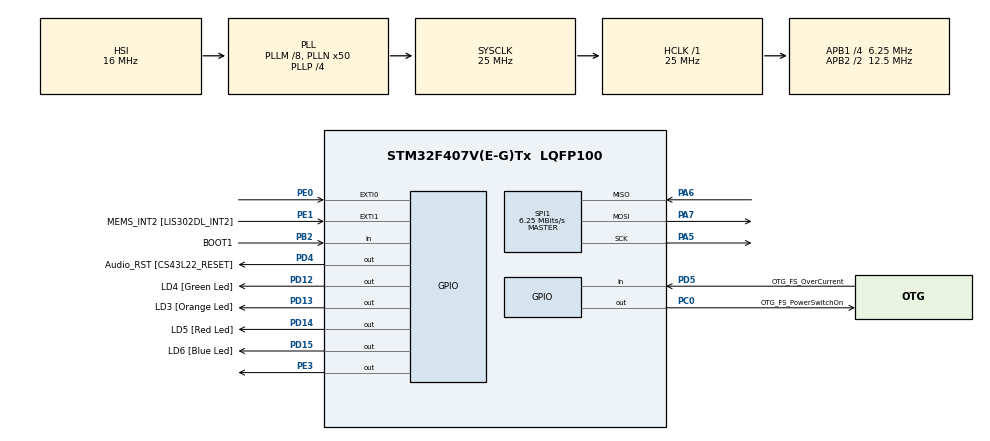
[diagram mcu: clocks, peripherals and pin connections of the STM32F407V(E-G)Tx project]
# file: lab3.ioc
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Mcu.Family=STM32F4
Mcu.Name=STM32F407V(E-G)Tx
Mcu.Package=LQFP100
NVIC.EXTI0_IRQn=true\:0\:0\:false\:false\:true\:true\:true\:true
NVIC.PriorityGroup=NVIC_PRIORITYGROUP_4
NVIC.TIM7_IRQn=true\:0\:0\:false\:false\:true\:false\:true\:true
NVIC.TimeBase=TIM7_IRQn
NVIC.TimeBaseIP=TIM7
PA10.GPIO_Label=OTG_FS_ID
PA10.GPIO_Mode=GPIO_MODE_AF_PP
PA10.GPIO_PuPd=GPIO_NOPULL
PA10.GPIO_Speed=GPIO_SPEED_FREQ_LOW
PA10.Signal=USB_OTG_FS_ID
PA11.GPIO_Label=OTG_FS_DM
PA11.GPIO_Mode=GPIO_MODE_AF_PP
PA11.GPIO_PuPd=GPIO_NOPULL
PA11.GPIO_Speed=GPIO_SPEED_FREQ_LOW
PA11.Signal=USB_OTG_FS_DM
PA12.GPIO_Label=OTG_FS_DP
PA12.GPIO_Mode=GPIO_MODE_AF_PP
PA12.GPIO_PuPd=GPIO_NOPULL
PA12.GPIO_Speed=GPIO_SPEED_FREQ_LOW
PA12.Signal=USB_OTG_FS_DP
PA13.GPIO_Label=SWDIO
PA13.Mode=Serial_Wire
PA13.Signal=SYS_JTMS-SWDIO
PA14.GPIO_Label=SWCLK
PA14.Mode=Serial_Wire
PA14.Signal=SYS_JTCK-SWCLK
PA4.GPIO_Label=I2S3_WS [CS43L22_LRCK]
PA4.GPIO_Mode=GPIO_MODE_AF_PP
PA4.GPIO_PuPd=GPIO_NOPULL
PA4.GPIO_Speed=GPIO_SPEED_FREQ_LOW
PA4.Signal=I2S3_WS
PA5.Mode=Full_Duplex_Master
PA5.Signal=SPI1_SCK
PA6.Mode=Full_Duplex_Master
PA6.Signal=SPI1_MISO
PA7.Mode=Full_Duplex_Master
PA7.Signal=SPI1_MOSI
PA9.GPIO_Label=VBUS_FS
PA9.GPIO_Mode=GPIO_MODE_INPUT
PA9.GPIO_PuPd=GPIO_NOPULL
PA9.Signal=USB_OTG_FS_VBUS
PB10.GPIO_Label=CLK_IN [MP45DT02_CLK]
PB10.GPIO_Mode=GPIO_MODE_AF_PP
PB10.GPIO_PuPd=GPIO_NOPULL
PB10.GPIO_Speed=GPIO_SPEED_FREQ_LOW
PB10.Signal=I2S2_CK
PB2.GPIO_Label=BOOT1
PB2.GPIO_Mode=GPIO_MODE_INPUT
PB2.GPIO_PuPd=GPIO_NOPULL
PB2.Signal=GPIO_Input
PB3.GPIO_Label=SWO
PB3.Signal=SYS_JTDO-SWO
PB6.GPIO_Label=Audio_SCL [CS43L22_SCL]
PB6.GPIO_Mode=GPIO_MODE_AF_OD
PB6.GPIO_PuPd=GPIO_NOPULL
PB6.GPIO_Speed=GPIO_SPEED_FREQ_LOW
PB6.Signal=I2C1_SCL
PB9.GPIO_Label=Audio_SDA [CS43L22_SDA]
PB9.GPIO_Mode=GPIO_MODE_AF_OD
PB9.GPIO_PuPd=GPIO_NOPULL
PB9.GPIO_Speed=GPIO_SPEED_FREQ_LOW
PB9.Signal=I2C1_SDA
PC0.GPIO_Label=OTG_FS_PowerSwitchOn
PC0.GPIO_PuPd=GPIO_NOPULL
PC0.GPIO_Speed=GPIO_SPEED_FREQ_LOW
PC0.PinState=GPIO_PIN_SET
PC0.Signal=GPIO_Output
PC10.GPIO_Label=I2S3_SCK [CS43L22_SCLK]
PC10.GPIO_Mode=GPIO_MODE_AF_PP
PC10.GPIO_PuPd=GPIO_NOPULL
PC10.GPIO_Speed=GPIO_SPEED_FREQ_LOW
PC10.Signal=I2S3_CK
PC12.GPIO_Label=I2S3_SD [CS43L22_SDIN]
PC12.GPIO_Mode=GPIO_MODE_AF_PP
PC12.GPIO_PuPd=GPIO_NOPULL
PC12.GPIO_Speed=GPIO_SPEED_FREQ_LOW
PC12.Signal=I2S3_SD
PC14-OSC32_IN.GPIO_Label=PC14-OSC32_IN
PC14-OSC32_IN.Signal=RCC_OSC32_IN
PC15-OSC32_OUT.GPIO_Label=PC15-OSC32_OUT
PC15-OSC32_OUT.Signal=RCC_OSC32_OUT
PC3.GPIO_Label=PDM_OUT [MP45DT02_DOUT]
PC3.GPIO_Mode=GPIO_MODE_AF_PP
PC3.GPIO_PuPd=GPIO_NOPULL
PC3.GPIO_Speed=GPIO_SPEED_FREQ_LOW
PC3.Signal=I2S2_SD
PC7.GPIO_Label=I2S3_MCK [CS43L22_MCLK]
PC7.GPIO_Mode=GPIO_MODE_AF_PP
PC7.GPIO_PuPd=GPIO_NOPULL
PC7.GPIO_Speed=GPIO_SPEED_FREQ_LOW
PC7.Signal=I2S3_MCK
PD12.GPIO_Label=LD4 [Green Led]
PD12.GPIO_PuPd=GPIO_NOPULL
PD12.GPIO_Speed=GPIO_SPEED_FREQ_LOW
PD12.Signal=GPIO_Output
PD13.GPIO_Label=LD3 [Orange Led]
PD13.GPIO_PuPd=GPIO_NOPULL
PD13.GPIO_Speed=GPIO_SPEED_FREQ_LOW
PD13.Signal=GPIO_Output
PD14.GPIO_Label=LD5 [Red Led]
PD14.GPIO_PuPd=GPIO_NOPULL
PD14.GPIO_Speed=GPIO_SPEED_FREQ_LOW
PD14.Signal=GPIO_Output
PD15.GPIO_Label=LD6 [Blue Led]
PD15.GPIO_PuPd=GPIO_NOPULL
PD15.GPIO_Speed=GPIO_SPEED_FREQ_LOW
PD15.Signal=GPIO_Output
PD4.GPIO_Label=Audio_RST [CS43L22_RESET]
PD4.GPIO_PuPd=GPIO_NOPULL
PD4.GPIO_Speed=GPIO_SPEED_FREQ_LOW
PD4.Signal=GPIO_Output
PD5.GPIO_Label=OTG_FS_OverCurrent
PD5.GPIO_Mode=GPIO_MODE_INPUT
PD5.GPIO_PuPd=GPIO_NOPULL
PD5.Signal=GPIO_Input
PE0.Signal=GPXTI0
PE1.GPIO_Label=MEMS_INT2 [LIS302DL_INT2]
PE1.GPIO_ModeDefaultEXTI=GPIO_MODE_EVT_RISING
PE1.GPIO_PuPd=GPIO_NOPULL
PE1.Signal=GPXTI1
PE3.Signal=GPIO_Output
PH0-OSC_IN.GPIO_Label=PH0-OSC_IN
PH0-OSC_IN.Signal=RCC_OSC_IN
PH1-OSC_OUT.GPIO_Label=PH1-OSC_OUT
PH1-OSC_OUT.Signal=RCC_OSC_OUT
ProjectManager.HeapSize=0x200
ProjectManager.StackSize=0x400
ProjectManager.TargetToolchain=STM32CubeIDE
RCC.48MHZClocksFreq_Value=14285714.285714285
RCC.AHBFreq_Value=25000000
RCC.APB1CLKDivider=RCC_HCLK_DIV4
RCC.APB1Freq_Value=6250000
RCC.APB1TimFreq_Value=12500000
RCC.APB2CLKDivider=RCC_HCLK_DIV2
RCC.APB2Freq_Value=12500000
RCC.APB2TimFreq_Value=25000000
RCC.CortexFreq_Value=25000000
RCC.HCLKFreq_Value=25000000
RCC.HSE_VALUE=8000000
RCC.HSI_VALUE=16000000
RCC.LSE_VALUE=32768
RCC.PLLM=8
RCC.PLLN=50
RCC.PLLP=RCC_PLLP_DIV4
RCC.PLLQ=7
RCC.SYSCLKFreq_VALUE=25000000
RCC.SYSCLKSource=RCC_SYSCLKSOURCE_PLLCLK
RCC.VCOOutputFreq_Value=100000000
SPI1.CalculateBaudRate=6.25 MBits/s
SPI1.Direction=SPI_DIRECTION_2LINES
SPI1.Mode=SPI_MODE_MASTER
SPI1.VirtualType=VM_MASTER
VP_SYS_VS_tim7.Mode=TIM7
board=STM32F407G-DISC1

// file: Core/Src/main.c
/* USER CODE BEGIN Header */
/**
  ******************************************************************************
  * @file           : main.c
  * @brief          : Main program body
  ******************************************************************************
  * @attention
  *
  * Copyright (c) 2023 STMicroelectronics.
  * All rights reserved.
  *
  * This software is licensed under terms that can be found in the LICENSE file
  * in the root directory of this software component.
  * If no LICENSE file comes with this software, it is provided AS-IS.
  *
  ******************************************************************************
  */
/* USER CODE END Header */
#include "main.h"
#include "FreeRTOS.h"
#include "task.h"
#include "semphr.h"

/* USER CODE BEGIN PM */
#define LIS3DSH_WHO_AM_I_ADDR		0x0F
#define LIS3DSH_STAT_ADDR			0x18
#define LIS3DSH_CTRL_REG4_ADDR		0x20
#define LIS3DSH_CTRL_REG1_ADDR		0x21
#define LIS3DSH_CTRL_REG2_ADDR		0x22
#define LIS3DSH_CTRL_REG3_ADDR		0x23
#define LIS3DSH_CTRL_REG5_ADDR		0x24
#define LIS3DSH_CTRL_REG6_ADDR		0x25

#define LIS3DSH_STATUS_ADDR			0x27

#define LIS3DSH_OUT_X_L_ADDR		0x28
#define LIS3DSH_OUT_X_H_ADDR		0x29
#define LIS3DSH_OUT_Y_L_ADDR		0x2A
#define LIS3DSH_OUT_Y_H_ADDR		0x2B
#define LIS3DSH_OUT_Z_L_ADDR		0x2C
#define LIS3DSH_OUT_Z_H_ADDR		0x2D

#define LIS3DSH_ST1_1_ADDR			0x40
#define LIS3DSH_ST1_2_ADDR			0x41
#define LIS3DSH_THRS1_1_ADDR		0x57
#define LIS3DSH_MASK1_B_ADDR		0x59
#define LIS3DSH_MASK1_A_ADDR		0x5A
#define LIS3DSH_SETT1_ADDR			0x5B

/* USER CODE END PM */

SPI_HandleTypeDef hspi1;

void SystemClock_Config(void);
static void MX_GPIO_Init(void);
static void MX_SPI1_Init(void);

/* USER CODE BEGIN 0 */
void MEMS_Write(uint8_t address, uint8_t data){
	HAL_GPIO_WritePin(GPIOE, GPIO_PIN_3, GPIO_PIN_RESET);
	HAL_SPI_Transmit(&hspi1, &address, 1, 10);
	HAL_SPI_Transmit(&hspi1, &data, 1, 10);
	HAL_GPIO_WritePin(GPIOE, GPIO_PIN_3, GPIO_PIN_SET);
}

void MEMS_Read(uint8_t address, uint8_t *data){
	address |= 0x80;
	HAL_GPIO_WritePin(GPIOE, GPIO_PIN_3, GPIO_PIN_RESET);
	HAL_SPI_Transmit(&hspi1, &address, 1, 10);
	HAL_SPI_Receive(&hspi1, data, 1, 10);
	HAL_GPIO_WritePin(GPIOE, GPIO_PIN_3, GPIO_PIN_SET);
}
/* prelab3
void LED_Task(void *pvParameter){
	for(;;){
		uint8_t data;
		MEMS_Read(LIS3DSH_WHO_AM_I_ADDR, &data);
		if(data == 0x3F){
			HAL_GPIO_TogglePin(GPIOD, GPIO_PIN_12);
		}
		vTaskDelay(500/portTICK_RATE_MS); //
	}
}
*/

void SensorInit(){
	MEMS_Write(LIS3DSH_CTRL_REG1_ADDR, 0x01);
	MEMS_Write(LIS3DSH_CTRL_REG3_ADDR, 0x48);
	MEMS_Write(LIS3DSH_CTRL_REG4_ADDR, 0x67);
	MEMS_Write(LIS3DSH_CTRL_REG5_ADDR, 0x00);
	MEMS_Write(LIS3DSH_THRS1_1_ADDR, 0x55);
	MEMS_Write(LIS3DSH_ST1_1_ADDR, 0x05);
	MEMS_Write(LIS3DSH_ST1_2_ADDR, 0x11);
	MEMS_Write(LIS3DSH_MASK1_B_ADDR, 0xFC);
	MEMS_Write(LIS3DSH_MASK1_A_ADDR, 0xFC);
	MEMS_Write(LIS3DSH_SETT1_ADDR, 0x1); // 01 ?
}

void Green_LED_Task(void *pvParameters)
{
	for(;;)
	{
		// green LED blink
		HAL_GPIO_WritePin(GPIOD, GPIO_PIN_12, GPIO_PIN_SET);
		vTaskDelay(500);
		HAL_GPIO_WritePin(GPIOD, GPIO_PIN_12, GPIO_PIN_RESET);
		vTaskDelay(500);
	}
}

SemaphoreHandle_t xSemaphore;

void vHandlerTask( void *pvParameters ) // taskB
{
	for(;;)
		{
			if (xSemaphoreTake(xSemaphore, 0xffff) == pdTRUE){ /* Take the semaphore */
				// semaphore was obtained

				//HAL_GPIO_WritePin(GPIOD, GPIO_PIN_14, GPIO_PIN_SET);
				// orange LED blink 5 times

				for(int i = 0; i < 10; i++){
					uint32_t From_begin_time = HAL_GetTick();
					HAL_GPIO_TogglePin(GPIOD, GPIO_PIN_13);
					while(HAL_GetTick() - From_begin_time < 250/portTICK_RATE_MS){;}
				}

				// reset interrupt register
				//MEMS_Write(LIS3DSH_THRS1_1_ADDR, 0x55);
				SensorInit();
			}
		}
}

void HAL_GPIO_EXTI_Callback(uint16_t GPIO_Pin) // switch state (ISR)
{
	/* red light toggle */
	HAL_GPIO_TogglePin(GPIOD, GPIO_PIN_14);
	/* Give the semaphore to unblock the handler task */
	BaseType_t xHigherPriorityTaskWoken;
	xHigherPriorityTaskWoken = pdFALSE;
	xSemaphoreGiveFromISR(xSemaphore, &xHigherPriorityTaskWoken);
	portYIELD_FROM_ISR( xHigherPriorityTaskWoken);
}

/* USER CODE END 0 */

int main(void)
{
  /* USER CODE BEGIN 1 */

  xSemaphore = xSemaphoreCreateBinary();
  /* USER CODE END 1 */

  /* MCU Configuration----------------------------------------  ----------------*/

  /* Reset of all peripherals, Initializes the Flash interface and the Systick. */
  HAL_Init();

  /* Configure the system clock */
  SystemClock_Config();

  /* Initialize all configured peripherals */
  MX_GPIO_Init();
  MX_SPI1_Init();

  SensorInit();

  /* USER CODE BEGIN 2 */
  xTaskCreate(
		  Green_LED_Task,
  		  "NAME",
  		  128,
  		  NULL,
  		  1,
  		  NULL);

  xTaskCreate(
		 vHandlerTask,
		 "NAME",
		 128,
		 NULL,
		 3,
    	 NULL);

  vTaskStartScheduler();
  /* USER CODE END 2 */

  /* Infinite loop */
  while (1)
  {

  }
}

void SystemClock_Config(void)
{
  RCC_OscInitTypeDef RCC_OscInitStruct = {0};
  RCC_ClkInitTypeDef RCC_ClkInitStruct = {0};

  /** Configure the main internal regulator output voltage
  */
  __HAL_RCC_PWR_CLK_ENABLE();
  __HAL_PWR_VOLTAGESCALING_CONFIG(PWR_REGULATOR_VOLTAGE_SCALE1);
  /** Initializes the RCC Oscillators according to the specified parameters
  * in the RCC_OscInitTypeDef structure.
  */
  RCC_OscInitStruct.OscillatorType = RCC_OSCILLATORTYPE_HSI;
  RCC_OscInitStruct.HSIState = RCC_HSI_ON;
  RCC_OscInitStruct.HSICalibrationValue = RCC_HSICALIBRATION_DEFAULT;
  RCC_OscInitStruct.PLL.PLLState = RCC_PLL_ON;
  RCC_OscInitStruct.PLL.PLLSource = RCC_PLLSOURCE_HSI;
  RCC_OscInitStruct.PLL.PLLM = 8;
  RCC_OscInitStruct.PLL.PLLN = 50;
  RCC_OscInitStruct.PLL.PLLP = RCC_PLLP_DIV4;
  RCC_OscInitStruct.PLL.PLLQ = 7;
  if (HAL_RCC_OscConfig(&RCC_OscInitStruct) != HAL_OK)
  {
    Error_Handler();
  }
  /** Initializes the CPU, AHB and APB buses clocks
  */
  RCC_ClkInitStruct.ClockType = RCC_CLOCKTYPE_HCLK|RCC_CLOCKTYPE_SYSCLK
                              |RCC_CLOCKTYPE_PCLK1|RCC_CLOCKTYPE_PCLK2;
  RCC_ClkInitStruct.SYSCLKSource = RCC_SYSCLKSOURCE_PLLCLK;
  RCC_ClkInitStruct.AHBCLKDivider = RCC_SYSCLK_DIV1;
  RCC_ClkInitStruct.APB1CLKDivider = RCC_HCLK_DIV4;
  RCC_ClkInitStruct.APB2CLKDivider = RCC_HCLK_DIV2;

  if (HAL_RCC_ClockConfig(&RCC_ClkInitStruct, FLASH_LATENCY_0) != HAL_OK)
  {
    Error_Handler();
  }
}

static void MX_SPI1_Init(void)
{

  /* SPI1 parameter configuration*/
  hspi1.Instance = SPI1;
  hspi1.Init.Mode = SPI_MODE_MASTER;
  hspi1.Init.Direction = SPI_DIRECTION_2LINES;
  hspi1.Init.DataSize = SPI_DATASIZE_8BIT;
  hspi1.Init.CLKPolarity = SPI_POLARITY_LOW;
  hspi1.Init.CLKPhase = SPI_PHASE_1EDGE;
  hspi1.Init.NSS = SPI_NSS_SOFT;
  hspi1.Init.BaudRatePrescaler = SPI_BAUDRATEPRESCALER_2;
  hspi1.Init.FirstBit = SPI_FIRSTBIT_MSB;
  hspi1.Init.TIMode = SPI_TIMODE_DISABLE;
  hspi1.Init.CRCCalculation = SPI_CRCCALCULATION_DISABLE;
  hspi1.Init.CRCPolynomial = 10;
  if (HAL_SPI_Init(&hspi1) != HAL_OK)
  {
    Error_Handler();
  }

}

static void MX_GPIO_Init(void)
{
  GPIO_InitTypeDef GPIO_InitStruct = {0};

  /* GPIO Ports Clock Enable */
  __HAL_RCC_GPIOE_CLK_ENABLE();
  __HAL_RCC_GPIOC_CLK_ENABLE();
  __HAL_RCC_GPIOH_CLK_ENABLE();
  __HAL_RCC_GPIOA_CLK_ENABLE();
  __HAL_RCC_GPIOB_CLK_ENABLE();
  __HAL_RCC_GPIOD_CLK_ENABLE();

  /*Configure GPIO pin Output Level */
  HAL_GPIO_WritePin(GPIOE, GPIO_PIN_3, GPIO_PIN_RESET);

  /*Configure GPIO pin Output Level */
  HAL_GPIO_WritePin(OTG_FS_PowerSwitchOn_GPIO_Port, OTG_FS_PowerSwitchOn_Pin, GPIO_PIN_SET);

  /*Configure GPIO pin Output Level */
  HAL_GPIO_WritePin(GPIOD, LD4_Pin|LD3_Pin|LD5_Pin|LD6_Pin
                          |Audio_RST_Pin, GPIO_PIN_RESET);

  /*Configure GPIO pin : PE3 */
  GPIO_InitStruct.Pin = GPIO_PIN_3;
  GPIO_InitStruct.Mode = GPIO_MODE_OUTPUT_PP;
  GPIO_InitStruct.Pull = GPIO_NOPULL;
  GPIO_InitStruct.Speed = GPIO_SPEED_FREQ_LOW;
  HAL_GPIO_Init(GPIOE, &GPIO_InitStruct);

  /*Configure GPIO pin : OTG_FS_PowerSwitchOn_Pin */
  GPIO_InitStruct.Pin = OTG_FS_PowerSwitchOn_Pin;
  GPIO_InitStruct.Mode = GPIO_MODE_OUTPUT_PP;
  GPIO_InitStruct.Pull = GPIO_NOPULL;
  GPIO_InitStruct.Speed = GPIO_SPEED_FREQ_LOW;
  HAL_GPIO_Init(OTG_FS_PowerSwitchOn_GPIO_Port, &GPIO_InitStruct);

  /*Configure GPIO pin : PDM_OUT_Pin */
  GPIO_InitStruct.Pin = PDM_OUT_Pin;
  GPIO_InitStruct.Mode = GPIO_MODE_AF_PP;
  GPIO_InitStruct.Pull = GPIO_NOPULL;
  GPIO_InitStruct.Speed = GPIO_SPEED_FREQ_LOW;
  GPIO_InitStruct.Alternate = GPIO_AF5_SPI2;
  HAL_GPIO_Init(PDM_OUT_GPIO_Port, &GPIO_InitStruct);

  /*Configure GPIO pin : I2S3_WS_Pin */
  GPIO_InitStruct.Pin = I2S3_WS_Pin;
  GPIO_InitStruct.Mode = GPIO_MODE_AF_PP;
  GPIO_InitStruct.Pull = GPIO_NOPULL;
  GPIO_InitStruct.Speed = GPIO_SPEED_FREQ_LOW;
  GPIO_InitStruct.Alternate = GPIO_AF6_SPI3;
  HAL_GPIO_Init(I2S3_WS_GPIO_Port, &GPIO_InitStruct);

  /*Configure GPIO pin : BOOT1_Pin */
  GPIO_InitStruct.Pin = BOOT1_Pin;
  GPIO_InitStruct.Mode = GPIO_MODE_INPUT;
  GPIO_InitStruct.Pull = GPIO_NOPULL;
  HAL_GPIO_Init(BOOT1_GPIO_Port, &GPIO_InitStruct);

  /*Configure GPIO pin : CLK_IN_Pin */
  GPIO_InitStruct.Pin = CLK_IN_Pin;
  GPIO_InitStruct.Mode = GPIO_MODE_AF_PP;
  GPIO_InitStruct.Pull = GPIO_NOPULL;
  GPIO_InitStruct.Speed = GPIO_SPEED_FREQ_LOW;
  GPIO_InitStruct.Alternate = GPIO_AF5_SPI2;
  HAL_GPIO_Init(CLK_IN_GPIO_Port, &GPIO_InitStruct);

  /*Configure GPIO pins : LD4_Pin LD3_Pin LD5_Pin LD6_Pin
                           Audio_RST_Pin */
  GPIO_InitStruct.Pin = LD4_Pin|LD3_Pin|LD5_Pin|LD6_Pin
                          |Audio_RST_Pin;
  GPIO_InitStruct.Mode = GPIO_MODE_OUTPUT_PP;
  GPIO_InitStruct.Pull = GPIO_NOPULL;
  GPIO_InitStruct.Speed = GPIO_SPEED_FREQ_LOW;
  HAL_GPIO_Init(GPIOD, &GPIO_InitStruct);

  /*Configure GPIO pins : I2S3_MCK_Pin I2S3_SCK_Pin I2S3_SD_Pin */
  GPIO_InitStruct.Pin = I2S3_MCK_Pin|I2S3_SCK_Pin|I2S3_SD_Pin;
  GPIO_InitStruct.Mode = GPIO_MODE_AF_PP;
  GPIO_InitStruct.Pull = GPIO_NOPULL;
  GPIO_InitStruct.Speed = GPIO_SPEED_FREQ_LOW;
  GPIO_InitStruct.Alternate = GPIO_AF6_SPI3;
  HAL_GPIO_Init(GPIOC, &GPIO_InitStruct);

  /*Configure GPIO pin : VBUS_FS_Pin */
  GPIO_InitStruct.Pin = VBUS_FS_Pin;
  GPIO_InitStruct.Mode = GPIO_MODE_INPUT;
  GPIO_InitStruct.Pull = GPIO_NOPULL;
  HAL_GPIO_Init(VBUS_FS_GPIO_Port, &GPIO_InitStruct);

  /*Configure GPIO pins : OTG_FS_ID_Pin OTG_FS_DM_Pin OTG_FS_DP_Pin */
  GPIO_InitStruct.Pin = OTG_FS_ID_Pin|OTG_FS_DM_Pin|OTG_FS_DP_Pin;
  GPIO_InitStruct.Mode = GPIO_MODE_AF_PP;
  GPIO_InitStruct.Pull = GPIO_NOPULL;
  GPIO_InitStruct.Speed = GPIO_SPEED_FREQ_LOW;
  GPIO_InitStruct.Alternate = GPIO_AF10_OTG_FS;
  HAL_GPIO_Init(GPIOA, &GPIO_InitStruct);

  /*Configure GPIO pin : OTG_FS_OverCurrent_Pin */
  GPIO_InitStruct.Pin = OTG_FS_OverCurrent_Pin;
  GPIO_InitStruct.Mode = GPIO_MODE_INPUT;
  GPIO_InitStruct.Pull = GPIO_NOPULL;
  HAL_GPIO_Init(OTG_FS_OverCurrent_GPIO_Port, &GPIO_InitStruct);

  /*Configure GPIO pins : Audio_SCL_Pin Audio_SDA_Pin */
  GPIO_InitStruct.Pin = Audio_SCL_Pin|Audio_SDA_Pin;
  GPIO_InitStruct.Mode = GPIO_MODE_AF_OD;
  GPIO_InitStruct.Pull = GPIO_NOPULL;
  GPIO_InitStruct.Speed = GPIO_SPEED_FREQ_LOW;
  GPIO_InitStruct.Alternate = GPIO_AF4_I2C1;
  HAL_GPIO_Init(GPIOB, &GPIO_InitStruct);

  /*Configure GPIO pin : PE0 */
  GPIO_InitStruct.Pin = GPIO_PIN_0;
  GPIO_InitStruct.Mode = GPIO_MODE_IT_RISING;
  GPIO_InitStruct.Pull = GPIO_NOPULL;
  HAL_GPIO_Init(GPIOE, &GPIO_InitStruct);

  /*Configure GPIO pin : MEMS_INT2_Pin */
  GPIO_InitStruct.Pin = MEMS_INT2_Pin;
  GPIO_InitStruct.Mode = GPIO_MODE_EVT_RISING;
  GPIO_InitStruct.Pull = GPIO_NOPULL;
  HAL_GPIO_Init(MEMS_INT2_GPIO_Port, &GPIO_InitStruct);

  /* EXTI interrupt init*/
  HAL_NVIC_SetPriority(EXTI0_IRQn, 5, 0);
  HAL_NVIC_EnableIRQ(EXTI0_IRQn);

}

void HAL_TIM_PeriodElapsedCallback(TIM_HandleTypeDef *htim)
{
  if (htim->Instance == TIM7) {
    HAL_IncTick();
  }
}

void Error_Handler(void)
{
  __disable_irq();
  while (1)
  {
  }
}
